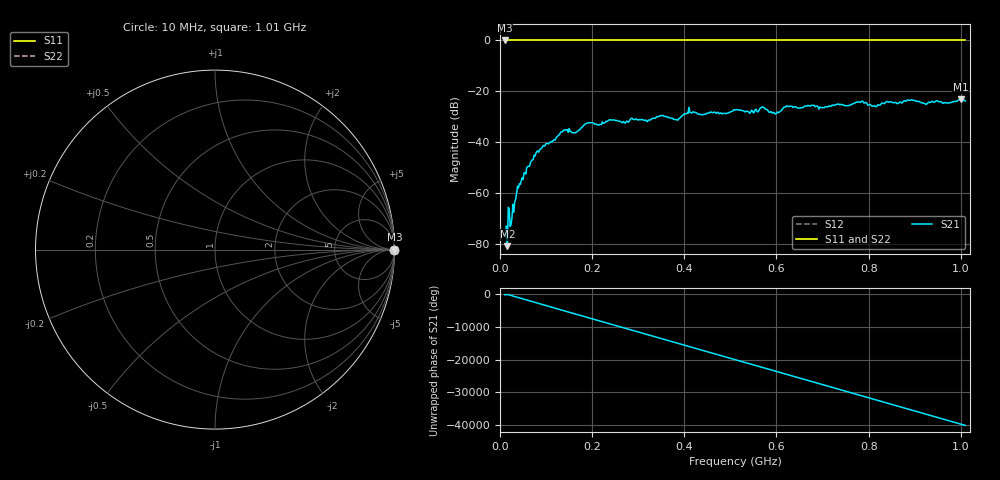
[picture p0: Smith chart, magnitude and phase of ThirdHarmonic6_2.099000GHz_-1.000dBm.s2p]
! 8/17/2025 1:07:02 AM
! C:\ANRITSUVNA\TEMP\TEMP.S2P
! CHANNEL.1
! TR.MEASUREMENT
! RAW.DATA
! RF.CORRECTION.OFF
! AVERAGING.OFF
! IF.BANDWIDTH: 5KHZ
! SWEEPTYPE:  FREQ.SWEEP(Linear)
! Reference Plane Port Info
! PORT:  PORT1  PORT2
! DISTANCE:  0  m  0  m
! TIME:  0  s  0  s
! PHASE.OFFSET:  0  deg.  0  deg.
! LOSS:  0  dB  0  dB
! REF.LOSS:  0  dB  0  dB
! REF.FREQ:  0  Hz  0  Hz
! Power Info
! POWER:  -20  dBm  -20  dBm
! EFF.POWER:  -20  dBm  -20  dBm
! SOURCE.ATTEN:  0  dB  0  dB
! TEST.ATTEN:  0  dB  0  dB
# GHZ S RI R 50.0
! FREQ.GHZ  S11RE  S11IM  S21RE  S21IM  S12RE  S12IM  S22RE  S22IM
!; PortSelection: Port_12
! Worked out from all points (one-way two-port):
!   501 points, 10 MHz to 1.01 GHz, reference 50 ohm
!   highest |S21| = -23.15 dB at 1 GHz (marker M1); lowest = -81.0 dB at 16 MHz (marker M2)
!   lowest |S11| = 0.0 dB at 10 MHz (marker M3)
!   |S11| at or under -10 dB: nowhere
!   |S22| runs from 0.0 to 0.0 dB; largest |S21 - S12| = 1.1
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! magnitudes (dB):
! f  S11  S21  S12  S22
! 10 MHz  0.0  -76.1  0.0  0.0
! 12 MHz  0.0  -77.6  0.0  0.0
! 16 MHz  0.0  -81.0  0.0  0.0
! 26 MHz  0.0  -69.8  0.0  0.0
! 42 MHz  0.0  -56.4  0.0  0.0
! 78 MHz  0.0  -44.4  0.0  0.0
! 136 MHz  0.0  -35.9  0.0  0.0
! 162 MHz  0.0  -36.3  0.0  0.0
! 178 MHz  0.0  -34.2  0.0  0.0
! 344 MHz  0.0  -30.0  0.0  0.0
! 382 MHz  0.0  -31.1  0.0  0.0
! 410 MHz  0.0  -26.3  0.0  0.0
! 510 MHz  0.0  -27.3  0.0  0.0
! 570 MHz  0.0  -26.2  0.0  0.0
! 596 MHz  0.0  -28.6  0.0  0.0
! 620 MHz  0.0  -26.1  0.0  0.0
! 678 MHz  0.0  -25.5  0.0  0.0
! 784 MHz  0.0  -24.1  0.0  0.0
! 814 MHz  0.0  -25.8  0.0  0.0
! 844 MHz  0.0  -24.3  0.0  0.0
! 1 GHz  0.0  -23.1  0.0  0.0
! 1.01 GHz  0.0  -23.8  0.0  0.0
